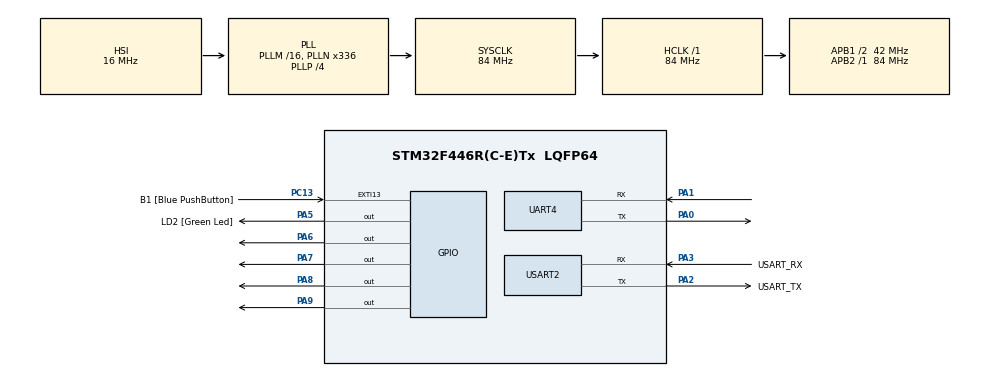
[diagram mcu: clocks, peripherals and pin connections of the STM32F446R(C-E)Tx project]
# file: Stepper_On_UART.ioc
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Mcu.Family=STM32F4
Mcu.Name=STM32F446R(C-E)Tx
Mcu.Package=LQFP64
NVIC.PriorityGroup=NVIC_PRIORITYGROUP_0
NVIC.UART4_IRQn=true\:0\:0\:false\:false\:true\:true\:true\:true
PA0-WKUP.Mode=Asynchronous
PA0-WKUP.Signal=UART4_TX
PA1.Mode=Asynchronous
PA1.Signal=UART4_RX
PA13.GPIO_Label=TMS
PA13.Mode=Serial_Wire
PA13.Signal=SYS_JTMS-SWDIO
PA14.GPIO_Label=TCK
PA14.Mode=Serial_Wire
PA14.Signal=SYS_JTCK-SWCLK
PA2.GPIO_Label=USART_TX
PA2.Mode=Asynchronous
PA2.Signal=USART2_TX
PA3.GPIO_Label=USART_RX
PA3.Mode=Asynchronous
PA3.Signal=USART2_RX
PA5.GPIO_Label=LD2 [Green Led]
PA5.Signal=GPIO_Output
PA6.Signal=GPIO_Output
PA7.Signal=GPIO_Output
PA8.Signal=GPIO_Output
PA9.Signal=GPIO_Output
PB3.GPIO_Label=SWO
PB3.Signal=SYS_JTDO-SWO
PC13.GPIO_Label=B1 [Blue PushButton]
PC13.GPIO_ModeDefaultEXTI=GPIO_MODE_IT_FALLING
PC13.Signal=GPXTI13
PC14-OSC32_IN.Mode=LSE-External-Oscillator
PC14-OSC32_IN.Signal=RCC_OSC32_IN
PC15-OSC32_OUT.Mode=LSE-External-Oscillator
PC15-OSC32_OUT.Signal=RCC_OSC32_OUT
PH0-OSC_IN.Mode=HSE-External-Oscillator
PH0-OSC_IN.Signal=RCC_OSC_IN
PH1-OSC_OUT.Mode=HSE-External-Oscillator
PH1-OSC_OUT.Signal=RCC_OSC_OUT
ProjectManager.HeapSize=0x200
ProjectManager.StackSize=0x400
ProjectManager.TargetToolchain=STM32CubeIDE
RCC.48MHZClocksFreq_Value=84000000
RCC.AHBFreq_Value=84000000
RCC.APB1CLKDivider=RCC_HCLK_DIV2
RCC.APB1Freq_Value=42000000
RCC.APB1TimFreq_Value=84000000
RCC.APB2Freq_Value=84000000
RCC.APB2TimFreq_Value=84000000
RCC.CortexFreq_Value=84000000
RCC.FLatency-AdvancedSettings=FLASH_LATENCY_2
RCC.HCLKFreq_Value=84000000
RCC.HSE_VALUE=8000000
RCC.HSI_VALUE=16000000
RCC.PLLN=336
RCC.PLLP=RCC_PLLP_DIV4
RCC.SYSCLKFreq_VALUE=84000000
RCC.SYSCLKSource=RCC_SYSCLKSOURCE_PLLCLK
RCC.USBFreq_Value=168000000
RCC.VCOOutputFreq_Value=336000000
UART4.VirtualMode=Asynchronous
USART2.VirtualMode=VM_ASYNC
board=NUCLEO-F446RE

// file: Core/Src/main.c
/* USER CODE BEGIN Header */
/**
 ******************************************************************************
 * @file           : main.c
 * @brief          : Main program body
 ******************************************************************************
 * @attention
 *
 * Copyright (c) 2025 STMicroelectronics.
 * All rights reserved.
 *
 * This software is licensed under terms that can be found in the LICENSE file
 * in the root directory of this software component.
 * If no LICENSE file comes with this software, it is provided AS-IS.
 *
 ******************************************************************************
 */
/* USER CODE END Header */
#include "main.h"

/* USER CODE BEGIN Includes */
#include<stdio.h>
#include<inttypes.h>

#include <stdbool.h>
/* USER CODE END Includes */

/* USER CODE BEGIN PD */
#define STEP_PIN GPIO_PIN_8
#define STEP_PORT GPIOA
#define STEP_PIN1 GPIO_PIN_9
#define STEP_PORT1 GPIOA
#define DIR_PIN GPIO_PIN_6
#define DIR_PORT GPIOA
#define DIR_PIN1 GPIO_PIN_7
#define DIR_PORT1 GPIOA
/* USER CODE END PD */

UART_HandleTypeDef huart4;
UART_HandleTypeDef huart2;

/* USER CODE BEGIN PV */
uint8_t rxbuff[16];

int slow = 75;

int fast = 400;

int Buff1 = 60;

int Buff2 = -60;

int BuffP = 80;

int BuffN = -80;

int32_t lx, ly, rx, ry, cro, squ, tri, cir, up, down, left, right, ll1, rr1,
		ll2, rr2;

HAL_StatusTypeDef status;

static uint32_t last_step_time = 0;
static uint32_t last_step_time1 = 0;
static int step_state = 0;
static int step_state1 = 0;
static int direction = 1;
static int direction1 = 1;
int step_delay = 5;
int step_delay1 = 1;
static int stepper_running = 0;  // Toggle flag
static int stepper_running1 = 0;  // Toggle flag
//static int prev_cir = 0;  // Previous button state
static int prev_squ = 0;
static int prev_ll1 = 0;
static int prev_rr1 = 0;
/* USER CODE END PV */

void SystemClock_Config(void);
static void MX_GPIO_Init(void);
static void MX_USART2_UART_Init(void);
static void MX_UART4_Init(void);

/* USER CODE BEGIN 0 */
long map(long x, long in_min, long in_max, long out_min, long out_max) {
	return (x - in_min) * (out_max - out_min) / (in_max - in_min) + out_min;
}
/* USER CODE END 0 */

int main(void) {

	/* MCU Configuration--------------------------------------------------------*/

	/* Reset of all peripherals, Initializes the Flash interface and the Systick. */
	HAL_Init();

	/* Configure the system clock */
	SystemClock_Config();

	/* Initialize all configured peripherals */
	MX_GPIO_Init();
	MX_USART2_UART_Init();
	MX_UART4_Init();
	/* USER CODE BEGIN 2 */
//  HAL_TIM_PWM_Start(&htim1, TIM_CHANNEL_1);
	HAL_UART_Receive(&huart4, rxbuff, 64, 1000);
	HAL_UART_Receive_IT(&huart4, rxbuff, 64);
	status = HAL_UART_Receive(&huart4, rxbuff, 64, 1000);
	/* USER CODE END 2 */

	/* Infinite loop */
	while (1) {

		/* USER CODE BEGIN 3 */
//	HAL_StatusTypeDef status;
//
//	status=HAL_UART_Receive(&huart4, rxbuff,64,1000);
//
//
//
//	if (status == HAL_OK) {
//
//		// Convert the received bytes to signed integers
//
//
//
//		lx = (rxbuff[1] & 0x80) ? (int32_t)rxbuff[1] - 256 : (int32_t)rxbuff[1];
//
//		ly = (rxbuff[2] & 0x80) ? (int32_t)rxbuff[2] - 256 : (int32_t)rxbuff[2];
//
//		rx = (rxbuff[3] & 0x80) ? (int32_t)rxbuff[3] - 256 : (int32_t)rxbuff[3];
//
//		ry = (rxbuff[4] & 0x80) ? (int32_t)rxbuff[4] - 256 : (int32_t)rxbuff[4];
//
//
//
//		up= (rxbuff[9] & 0x80) ? (int32_t)rxbuff[9] - 256 : (int32_t)rxbuff[9];
//
//		down= (rxbuff[10] & 0x80) ? (int32_t)rxbuff[10] - 256 : (int32_t)rxbuff[10];
//
//		left= (rxbuff[11] & 0x80) ? (int32_t)rxbuff[11] - 256 : (int32_t)rxbuff[11];
//
//		right=(rxbuff[12] & 0x80) ? (int32_t)rxbuff[12] - 256 : (int32_t)rxbuff[12];
//
//
//
//		tri= (rxbuff[7] & 0x80) ? (int32_t)rxbuff[7] - 256 : (int32_t)rxbuff[7];
//
//		squ= (rxbuff[6] & 0x80) ? (int32_t)rxbuff[6] - 256 : (int32_t)rxbuff[6];
//
//		cir= (rxbuff[8] & 0x80) ? (int32_t)rxbuff[8] - 256 : (int32_t)rxbuff[8];
//
//		cro= (rxbuff[5] & 0x80) ? (int32_t)rxbuff[5] - 256 : (int32_t)rxbuff[5];
//
//
//
//		ll1= (rxbuff[13] & 0x80) ? (int32_t)rxbuff[13] - 256 : (int32_t)rxbuff[13];
//
//		ll2= (rxbuff[14] & 0x80) ? (int32_t)rxbuff[14] - 256 : (int32_t)rxbuff[14];
//
//		rr1= (rxbuff[15] & 0x80) ? (int32_t)rxbuff[15] - 256 : (int32_t)rxbuff[15];
//
//		rr2= (rxbuff[16] & 0x80) ? (int32_t)rxbuff[16] - 256 : (int32_t)rxbuff[16];
//
//
//
//		// Print the received values
//
////		HAL_Delay(1000);
//		printf("Received Integers: %ld %ld %ld %ld %ld %ld %ld %ld\r\n", lx, ly, rx, ry, cro, squ, tri, cir);
//
//
//
//		}
//	else {
//
//		ry = 0;
//
//		rx = 0;
//
//		lx = 0;
//
//		ly = 0;
//
//		cro = 0;
//
//		squ = 0;
//
//		tri = 0;
//
//		cir = 0;
//
//		up = 0;
//
//		down = 0;
//
//		left = 0;
//
//		right = 0;
//
//		ll1=0;
//
//		ll2=0;
//
//		rr1=0;
//
//		rr2=0;
//
//	}
//	uint16_t dutycycle;
//	 static int step_count = 0;
//	 static int total_steps = 200;
//	 static uint32_t last_step_time = 0;
//	 static uint32_t last_step_time1 = 0;
//	 static int step_state = 0;
//	 static int step_state1 = 0;
//	 static int direction = 1;
//	 static int direction1 = 1;
//	 int step_delay = 5;
//	 int step_delay1 = 1;
//	 static int stepper_running = 0;  // Toggle flag
//	 static int stepper_running1 = 0;  // Toggle flag
//	 static int prev_cir = 0;  // Previous button state
//	 static int prev_squ = 0;  // Previous button state
//	 HAL_GPIO_WritePin(GPIOA, GPIO_PIN_5, 1);
//	 HAL_GPIO_WritePin(DIR_PORT, DIR_PIN, direction ? GPIO_PIN_SET : GPIO_PIN_RESET);
//	 HAL_GPIO_WritePin(DIR_PORT1, DIR_PIN1, direction1 ? GPIO_PIN_SET : GPIO_PIN_RESET);
//
//	 // Toggle stepper motor state when the circle button is pressed
////	 if (cir && !prev_cir) {
////		 printf("Circle Button Pressed\n");
////	     stepper_running = !stepper_running;  // Toggle ON/OFF
////	 }
////	 prev_cir = cir;  // Store previous state
//	 if (squ == 1 && cro == 0 && !prev_squ) {
//		 printf("Square Button Pressed\r\n");
//	     stepper_running1 = !stepper_running1;  // Toggle ON/OFF
//	 }
//	 prev_squ = squ;  // Store previous state
//
//	 if (stepper_running && (HAL_GetTick() - last_step_time) >= step_delay) {
//		 last_step_time = HAL_GetTick();
//
//		 if (step_state == 0) {
//			 HAL_GPIO_WritePin(STEP_PORT, STEP_PIN, GPIO_PIN_SET); // Step HIGH
//			 step_state = 1;
//		 } else {
//			 HAL_GPIO_WritePin(STEP_PORT, STEP_PIN, GPIO_PIN_RESET); // Step LOW
//			 step_state = 0;
////			 step_count++;
//		 }
//	 }
//
//	 if (stepper_running1 && (HAL_GetTick() - last_step_time1) >= step_delay1) {
//	     last_step_time1 = HAL_GetTick();
//
//	     if (step_state1 == 0) {
//	         HAL_GPIO_WritePin(STEP_PORT1, STEP_PIN1, GPIO_PIN_SET); // Step HIGH
//	         step_state1 = 1;
//	     } else {
//	         HAL_GPIO_WritePin(STEP_PORT1, STEP_PIN1, GPIO_PIN_RESET); // Step LOW
//	         step_state1 = 0;
//	     }
//	 }
		HAL_GPIO_WritePin(GPIOA, GPIO_PIN_5, 1);
		HAL_GPIO_WritePin(DIR_PORT1, DIR_PIN1,
				direction1 ? GPIO_PIN_SET : GPIO_PIN_RESET);

		// Check if PS5 buttons are pressed
		if (ll1 == 1 && !prev_ll1) {  // LL1 button pressed
			direction1 = 1;  // Set to Anti-clockwise
			stepper_running1 = 1;
		}
		if (rr1 == 1 && !prev_rr1) {  // RR1 button pressed
			direction1 = 0;  // Set to Clockwise
			stepper_running1 = 1;
		}
		if (squ == 1 && !prev_squ) {
			stepper_running1 = 0;
		}

		// Store previous states
		prev_ll1 = ll1;
		prev_rr1 = rr1;
		prev_squ = squ;

		// Run stepper only if stepper_running1 is active
		if (stepper_running1
				&& (HAL_GetTick() - last_step_time1) >= step_delay1) {
			last_step_time1 = HAL_GetTick(); // Update last step time

			if (step_state1 == 0) {
				HAL_GPIO_WritePin(STEP_PORT1, STEP_PIN1, GPIO_PIN_SET); // Step HIGH
				step_state1 = 1;
			} else {
				HAL_GPIO_WritePin(STEP_PORT1, STEP_PIN1, GPIO_PIN_RESET); // Step LOW
				step_state1 = 0;
			}
		}
	}
	/* USER CODE END 3 */
}

void SystemClock_Config(void) {
	RCC_OscInitTypeDef RCC_OscInitStruct = { 0 };
	RCC_ClkInitTypeDef RCC_ClkInitStruct = { 0 };

	/** Configure the main internal regulator output voltage
	 */
	__HAL_RCC_PWR_CLK_ENABLE();
	__HAL_PWR_VOLTAGESCALING_CONFIG(PWR_REGULATOR_VOLTAGE_SCALE3);

	/** Initializes the RCC Oscillators according to the specified parameters
	 * in the RCC_OscInitTypeDef structure.
	 */
	RCC_OscInitStruct.OscillatorType = RCC_OSCILLATORTYPE_HSI;
	RCC_OscInitStruct.HSIState = RCC_HSI_ON;
	RCC_OscInitStruct.HSICalibrationValue = RCC_HSICALIBRATION_DEFAULT;
	RCC_OscInitStruct.PLL.PLLState = RCC_PLL_ON;
	RCC_OscInitStruct.PLL.PLLSource = RCC_PLLSOURCE_HSI;
	RCC_OscInitStruct.PLL.PLLM = 16;
	RCC_OscInitStruct.PLL.PLLN = 336;
	RCC_OscInitStruct.PLL.PLLP = RCC_PLLP_DIV4;
	RCC_OscInitStruct.PLL.PLLQ = 2;
	RCC_OscInitStruct.PLL.PLLR = 2;
	if (HAL_RCC_OscConfig(&RCC_OscInitStruct) != HAL_OK) {
		Error_Handler();
	}

	/** Initializes the CPU, AHB and APB buses clocks
	 */
	RCC_ClkInitStruct.ClockType = RCC_CLOCKTYPE_HCLK | RCC_CLOCKTYPE_SYSCLK
			| RCC_CLOCKTYPE_PCLK1 | RCC_CLOCKTYPE_PCLK2;
	RCC_ClkInitStruct.SYSCLKSource = RCC_SYSCLKSOURCE_PLLCLK;
	RCC_ClkInitStruct.AHBCLKDivider = RCC_SYSCLK_DIV1;
	RCC_ClkInitStruct.APB1CLKDivider = RCC_HCLK_DIV2;
	RCC_ClkInitStruct.APB2CLKDivider = RCC_HCLK_DIV1;

	if (HAL_RCC_ClockConfig(&RCC_ClkInitStruct, FLASH_LATENCY_2) != HAL_OK) {
		Error_Handler();
	}
}

static void MX_UART4_Init(void) {

	huart4.Instance = UART4;
	huart4.Init.BaudRate = 115200;
	huart4.Init.WordLength = UART_WORDLENGTH_8B;
	huart4.Init.StopBits = UART_STOPBITS_1;
	huart4.Init.Parity = UART_PARITY_NONE;
	huart4.Init.Mode = UART_MODE_TX_RX;
	huart4.Init.HwFlowCtl = UART_HWCONTROL_NONE;
	huart4.Init.OverSampling = UART_OVERSAMPLING_16;
	if (HAL_UART_Init(&huart4) != HAL_OK) {
		Error_Handler();
	}

}

static void MX_USART2_UART_Init(void) {

	huart2.Instance = USART2;
	huart2.Init.BaudRate = 115200;
	huart2.Init.WordLength = UART_WORDLENGTH_8B;
	huart2.Init.StopBits = UART_STOPBITS_1;
	huart2.Init.Parity = UART_PARITY_NONE;
	huart2.Init.Mode = UART_MODE_TX_RX;
	huart2.Init.HwFlowCtl = UART_HWCONTROL_NONE;
	huart2.Init.OverSampling = UART_OVERSAMPLING_16;
	if (HAL_UART_Init(&huart2) != HAL_OK) {
		Error_Handler();
	}

}

static void MX_GPIO_Init(void) {
	GPIO_InitTypeDef GPIO_InitStruct = { 0 };

	/* GPIO Ports Clock Enable */
	__HAL_RCC_GPIOC_CLK_ENABLE();
	__HAL_RCC_GPIOH_CLK_ENABLE();
	__HAL_RCC_GPIOA_CLK_ENABLE();
	__HAL_RCC_GPIOB_CLK_ENABLE();

	/*Configure GPIO pin Output Level */
	HAL_GPIO_WritePin(GPIOA,
			LD2_Pin | GPIO_PIN_6 | GPIO_PIN_7 | GPIO_PIN_8 | GPIO_PIN_9,
			GPIO_PIN_RESET);

	/*Configure GPIO pin : B1_Pin */
	GPIO_InitStruct.Pin = B1_Pin;
	GPIO_InitStruct.Mode = GPIO_MODE_IT_FALLING;
	GPIO_InitStruct.Pull = GPIO_NOPULL;
	HAL_GPIO_Init(B1_GPIO_Port, &GPIO_InitStruct);

	/*Configure GPIO pins : LD2_Pin PA6 PA7 PA8
	 PA9 */
	GPIO_InitStruct.Pin = LD2_Pin | GPIO_PIN_6 | GPIO_PIN_7 | GPIO_PIN_8
			| GPIO_PIN_9;
	GPIO_InitStruct.Mode = GPIO_MODE_OUTPUT_PP;
	GPIO_InitStruct.Pull = GPIO_NOPULL;
	GPIO_InitStruct.Speed = GPIO_SPEED_FREQ_LOW;
	HAL_GPIO_Init(GPIOA, &GPIO_InitStruct);

}

/* USER CODE BEGIN 4 */
//int _write(int file, char *ptr, int len) {
//    HAL_UART_Transmit(&huart2, (uint8_t*)ptr, len, HAL_MAX_DELAY);
//    return len;
//}
void HAL_UART_RxCpltCallback(UART_HandleTypeDef *huart) {
	if (huart->Instance == UART4) {  // Check if it's the correct UART
		lx = (rxbuff[0] & 0x80) ?
				(int32_t) rxbuff[0] - 256 : (int32_t) rxbuff[0];
		ly = (rxbuff[1] & 0x80) ?
				(int32_t) rxbuff[1] - 256 : (int32_t) rxbuff[1];
		rx = (rxbuff[2] & 0x80) ?
				(int32_t) rxbuff[2] - 256 : (int32_t) rxbuff[2];
		ry = (rxbuff[3] & 0x80) ?
				(int32_t) rxbuff[3] - 256 : (int32_t) rxbuff[3];

		up = (rxbuff[8] & 0x80) ?
				(int32_t) rxbuff[8] - 256 : (int32_t) rxbuff[8];
		down = (rxbuff[9] & 0x80) ?
				(int32_t) rxbuff[9] - 256 : (int32_t) rxbuff[9];
		left = (rxbuff[10] & 0x80) ?
				(int32_t) rxbuff[10] - 256 : (int32_t) rxbuff[10];
		right = (rxbuff[11] & 0x80) ?
				(int32_t) rxbuff[11] - 256 : (int32_t) rxbuff[11];

		tri = (rxbuff[6] & 0x80) ?
				(int32_t) rxbuff[6] - 256 : (int32_t) rxbuff[6];
		squ = (rxbuff[5] & 0x80) ?
				(int32_t) rxbuff[5] - 256 : (int32_t) rxbuff[5];
		cir = (rxbuff[7] & 0x80) ?
				(int32_t) rxbuff[7] - 256 : (int32_t) rxbuff[7];
		cro = (rxbuff[4] & 0x80) ?
				(int32_t) rxbuff[4] - 256 : (int32_t) rxbuff[4];

		ll1 = (rxbuff[12] & 0x80) ?
				(int32_t) rxbuff[12] - 256 : (int32_t) rxbuff[12];
		ll2 = (rxbuff[13] & 0x80) ?
				(int32_t) rxbuff[13] - 256 : (int32_t) rxbuff[13];
		rr1 = (rxbuff[14] & 0x80) ?
				(int32_t) rxbuff[14] - 256 : (int32_t) rxbuff[14];
		rr2 = (rxbuff[15] & 0x80) ?
				(int32_t) rxbuff[15] - 256 : (int32_t) rxbuff[15];

		printf(
				"Received Integers: %ld %ld %ld %ld %ld %ld %ld %ld %ld %ld %ld %ld %ld %ld %ld %ld\r\n",
				lx, ly, rx, ry, cro, squ, tri, cir, up, down, left, right, ll1,
				ll2, rr1, rr2);

		// Restart UART reception for next data
		HAL_UART_Receive_IT(&huart4, rxbuff, 64);
	} else {

		ry = 0;

		rx = 0;

		lx = 0;

		ly = 0;

		cro = 0;

		squ = 0;

		tri = 0;

		cir = 0;

		up = 0;

		down = 0;

		left = 0;

		right = 0;

		ll1 = 0;

		ll2 = 0;

		rr1 = 0;

		rr2 = 0;

	}
}

int _write(int file, char *ptr, int len) {
	HAL_UART_Transmit(&huart2, (uint8_t*) ptr, len, HAL_MAX_DELAY);
	return len;
}

/* USER CODE END 4 */

void Error_Handler(void) {
	__disable_irq();
	while (1) {
	}
}
